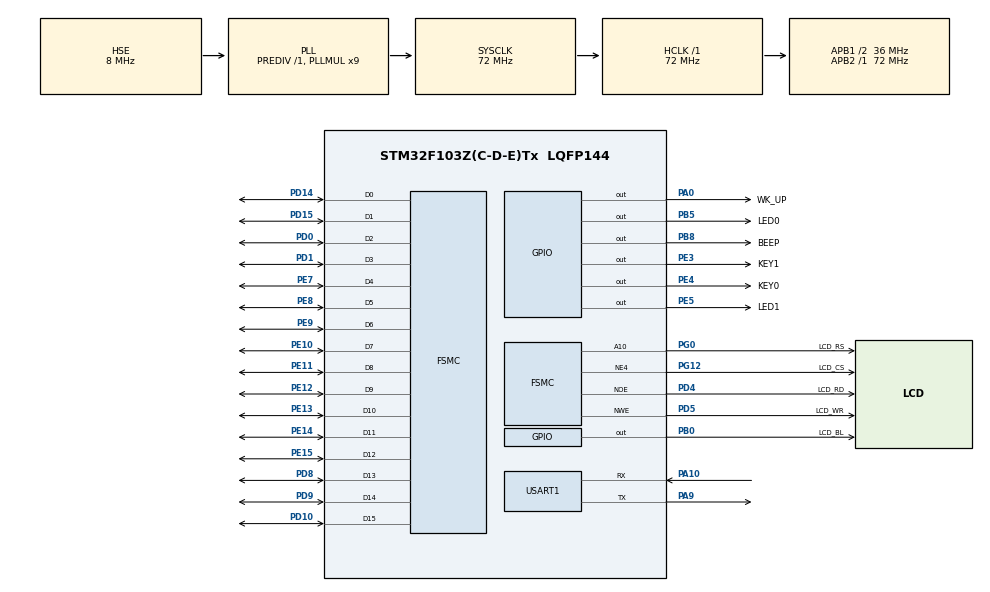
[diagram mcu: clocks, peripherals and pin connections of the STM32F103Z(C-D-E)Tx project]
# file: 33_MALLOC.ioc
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FSMC.AddressSetupTime1=0
FSMC.BusTurnAroundDuration1=15
FSMC.DataSetupTime1=15
FSMC.ExtendedAddressSetupTime1=0
FSMC.ExtendedDataSetupTime1=1
FSMC.ExtendedMode1=FSMC_EXTENDED_MODE_ENABLE
Mcu.Family=STM32F1
Mcu.Name=STM32F103Z(C-D-E)Tx
Mcu.Package=LQFP144
NVIC.PriorityGroup=NVIC_PRIORITYGROUP_2
NVIC.TIM4_IRQn=true\:2\:1\:true\:false\:true\:true\:true\:true
NVIC.USART1_IRQn=true\:2\:2\:true\:false\:true\:true\:true\:true
OSC_IN.Mode=HSE-External-Oscillator
OSC_IN.Signal=RCC_OSC_IN
OSC_OUT.Mode=HSE-External-Oscillator
OSC_OUT.Signal=RCC_OSC_OUT
PA0-WKUP.GPIO_Label=WK_UP
PA0-WKUP.GPIO_PuPd=GPIO_PULLDOWN
PA0-WKUP.GPIO_Speed=GPIO_SPEED_FREQ_HIGH
PA0-WKUP.PinState=GPIO_PIN_RESET
PA0-WKUP.Signal=GPIO_Output
PA10.Mode=Asynchronous
PA10.Signal=USART1_RX
PA13.Mode=Serial_Wire
PA13.Signal=SYS_JTMS-SWDIO
PA14.Mode=Serial_Wire
PA14.Signal=SYS_JTCK-SWCLK
PA9.Mode=Asynchronous
PA9.Signal=USART1_TX
PB0.GPIO_Label=LCD_BL
PB0.GPIO_PuPd=GPIO_PULLUP
PB0.GPIO_Speed=GPIO_SPEED_FREQ_HIGH
PB0.PinState=GPIO_PIN_SET
PB0.Signal=GPIO_Output
PB5.GPIO_Label=LED0
PB5.GPIO_PuPd=GPIO_PULLUP
PB5.GPIO_Speed=GPIO_SPEED_FREQ_HIGH
PB5.PinState=GPIO_PIN_SET
PB5.Signal=GPIO_Output
PB8.GPIO_Label=BEEP
PB8.GPIO_ModeDefaultOutputPP=GPIO_MODE_OUTPUT_PP
PB8.GPIO_PuPd=GPIO_PULLDOWN
PB8.GPIO_Speed=GPIO_SPEED_FREQ_HIGH
PB8.PinState=GPIO_PIN_RESET
PB8.Signal=GPIO_Output
PC14-OSC32_IN.Mode=LSE-External-Oscillator
PC14-OSC32_IN.Signal=RCC_OSC32_IN
PC15-OSC32_OUT.Mode=LSE-External-Oscillator
PC15-OSC32_OUT.Signal=RCC_OSC32_OUT
PD0.Signal=FSMC_D2_DA2
PD1.Signal=FSMC_D3_DA3
PD10.Signal=FSMC_D15_DA15
PD14.Signal=FSMC_D0_DA0
PD15.Signal=FSMC_D1_DA1
PD4.GPIO_Label=LCD_RD
PD4.Signal=FSMC_NOE
PD5.GPIO_Label=LCD_WR
PD5.Signal=FSMC_NWE
PD8.Signal=FSMC_D13_DA13
PD9.Signal=FSMC_D14_DA14
PE10.Signal=FSMC_D7_DA7
PE11.Signal=FSMC_D8_DA8
PE12.Signal=FSMC_D9_DA9
PE13.Signal=FSMC_D10_DA10
PE14.Signal=FSMC_D11_DA11
PE15.Signal=FSMC_D12_DA12
PE3.GPIO_Label=KEY1
PE3.GPIO_PuPd=GPIO_PULLUP
PE3.GPIO_Speed=GPIO_SPEED_FREQ_HIGH
PE3.PinState=GPIO_PIN_SET
PE3.Signal=GPIO_Output
PE4.GPIO_Label=KEY0
PE4.GPIO_PuPd=GPIO_PULLUP
PE4.GPIO_Speed=GPIO_SPEED_FREQ_HIGH
PE4.PinState=GPIO_PIN_SET
PE4.Signal=GPIO_Output
PE5.GPIO_Label=LED1
PE5.GPIO_PuPd=GPIO_PULLUP
PE5.GPIO_Speed=GPIO_SPEED_FREQ_HIGH
PE5.PinState=GPIO_PIN_SET
PE5.Signal=GPIO_Output
PE7.Signal=FSMC_D4_DA4
PE8.Signal=FSMC_D5_DA5
PE9.Signal=FSMC_D6_DA6
PG0.GPIO_Label=LCD_RS
PG0.Signal=FSMC_A10
PG12.GPIO_Label=LCD_CS
PG12.Mode=NorPsramChipSelect4_1
PG12.Signal=FSMC_NE4
ProjectManager.HeapSize=0x200
ProjectManager.StackSize=0x400
ProjectManager.TargetToolchain=STM32CubeIDE
RCC.AHBFreq_Value=72000000
RCC.APB1CLKDivider=RCC_HCLK_DIV2
RCC.APB1Freq_Value=36000000
RCC.APB1TimFreq_Value=72000000
RCC.APB2Freq_Value=72000000
RCC.APB2TimFreq_Value=72000000
RCC.HCLKFreq_Value=72000000
RCC.PLLMUL=RCC_PLL_MUL9
RCC.PLLSourceVirtual=RCC_PLLSOURCE_HSE
RCC.SYSCLKFreq_VALUE=72000000
RCC.SYSCLKSource=RCC_SYSCLKSOURCE_PLLCLK
RCC.USBFreq_Value=72000000
SH.FSMC_A10.0=FSMC_A10,A10_1
SH.FSMC_D0_DA0.0=FSMC_D0,16b-d1
SH.FSMC_D10_DA10.0=FSMC_D10,16b-d1
SH.FSMC_D11_DA11.0=FSMC_D11,16b-d1
SH.FSMC_D12_DA12.0=FSMC_D12,16b-d1
SH.FSMC_D13_DA13.0=FSMC_D13,16b-d1
SH.FSMC_D14_DA14.0=FSMC_D14,16b-d1
SH.FSMC_D15_DA15.0=FSMC_D15,16b-d1
SH.FSMC_D1_DA1.0=FSMC_D1,16b-d1
SH.FSMC_D2_DA2.0=FSMC_D2,16b-d1
SH.FSMC_D3_DA3.0=FSMC_D3,16b-d1
SH.FSMC_D4_DA4.0=FSMC_D4,16b-d1
SH.FSMC_D5_DA5.0=FSMC_D5,16b-d1
SH.FSMC_D6_DA6.0=FSMC_D6,16b-d1
SH.FSMC_D7_DA7.0=FSMC_D7,16b-d1
SH.FSMC_D8_DA8.0=FSMC_D8,16b-d1
SH.FSMC_D9_DA9.0=FSMC_D9,16b-d1
SH.FSMC_NOE.0=FSMC_NOE,Lcd1
SH.FSMC_NWE.0=FSMC_NWE,Lcd1
TIM4.AutoReloadPreload=TIM_AUTORELOAD_PRELOAD_ENABLE
TIM4.Period=1000 - 1
TIM4.Prescaler=7200 - 1
USART1.VirtualMode=VM_ASYNC
VP_TIM4_VS_ClockSourceINT.Mode=Internal
board=custom

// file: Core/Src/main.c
/* USER CODE BEGIN Header */

/* USER CODE END Header */
#include "main.h"
#include "tim.h"
#include "usart.h"
#include "gpio.h"
#include "fsmc.h"

/* USER CODE BEGIN Includes */
#include "../../BSP/LED/led.h"
#include "../../BSP/BEEP/beep.h"
#include "../../BSP/KEY/key.h"
#include "../../BSP/LCD/lcd.h"
#include "../../SYSTEM/delay/delay.h"
#include "../../SYSTEM/sys/sys.h"
#include "../../Middlewares/USMART/usmart.h"
#include "../../Middlewares/MALLOC/malloc.h"
/* USER CODE END Includes */

void SystemClock_Config(void);

int main(void)
{
  /* USER CODE BEGIN 1 */
    uint8_t paddr[20];  /* 存放P Addr:+p地址的ASCII值 */
    uint16_t memused = 0;
    uint8_t key;
    uint8_t i = 0;
    uint8_t *p = 0;
    uint8_t *tp = 0;
  /* USER CODE END 1 */

  /* MCU Configuration--------------------------------------------------------*/

  /* Reset of all peripherals, Initializes the Flash interface and the Systick. */
  HAL_Init();

  /* Configure the system clock */
  SystemClock_Config();

  /* USER CODE BEGIN SysInit */
  delay_init(72);						   	/* 初始化延时函数 */
  /* USER CODE END SysInit */

  /* Initialize all configured peripherals */
  MX_GPIO_Init();
  MX_FSMC_Init();
  MX_USART1_UART_Init();
  MX_TIM4_Init();
  /* USER CODE BEGIN 2 */
  lcd_init();                             	/* 初始化LCD */
  my_mem_init(SRAMIN);                		/* 初始化内部SRAM内存池 */

  lcd_show_string(30,  50, 200, 16, 16, "STM32", RED);
  lcd_show_string(30,  70, 200, 16, 16, "MALLOC TEST", RED);
  lcd_show_string(30,  90, 200, 16, 16, "ATOM@ALIENTEK", RED);
  lcd_show_string(30, 110, 200, 16, 16, "KEY0:Malloc KEY1:Free", RED);
  lcd_show_string(30, 130, 200, 16, 16, "KEY_UP:Write ", RED);
  lcd_show_string(30, 160, 200, 16, 16, "SRAMIN ", BLUE);
  lcd_show_string(30, 176, 200, 16, 16, "SRAMIN   USED:", BLUE);
  /* USER CODE END 2 */

  /* Infinite loop */
  /* USER CODE BEGIN WHILE */
  while (1)
  {
	  key = key_scan(0);      /* 不支持连按 */

	  switch (key)
	  {
		  case KEY0_PRES:     /* KEY0按下 */
			  p = mymalloc(SRAMIN, 2048);  /* 申请2K字节,并写入内容,显示在lcd屏幕上面 */

			  if (p != NULL)
			  {
				  sprintf((char *)p, "Memory Malloc Test%03d", i);        /* 向p写入一些内容 */
				  lcd_show_string(30, 260, 209, 16, 16, (char *)p, BLUE); /* 显示P的内容 */
			  }

			  break;

		  case KEY1_PRES:         /* KEY1按下 */
			  myfree(SRAMIN, p);  /* 释放内存 */
			  p = 0;              /* 指向空地址 */
			  break;

		  case WKUP_PRES:         /* KEY UP按下 */
		  if (p != NULL )
		  {
			sprintf((char *)p, "Memory Malloc Test%03d", i);          	/* 向p写入一些内容 */
			lcd_show_string(30, 260, 209, 16, 16, (char *)p, BLUE);
		  }
		  break;
	  }

	  if (tp != p)
	  {
		  tp = p;
		  sprintf((char *)paddr, "P Addr:0X%08X", (uint32_t)tp);
		  lcd_show_string(30, 240, 209, 16, 16, (char *)paddr, BLUE); 	/* 显示p的地址 */

		  if (p)
		  {
			  lcd_show_string(30, 260, 280, 16, 16, (char *)p, BLUE);	/* 显示P的内容 */
		  }
		  else
		  {
			  lcd_fill(30, 260, 209, 296, WHITE); /* p=0,清除显示 */
		  }
	  }

	  delay_ms(10);
	  i++;

	  if ((i % 20) == 0)  /* DS0闪烁. */
	  {
		  memused = my_mem_perused(SRAMIN);
		  sprintf((char *)paddr, "%d.%01d%%", memused / 10, memused % 10);
		  lcd_show_string(30 + 112, 176, 200, 16, 16, (char *)paddr, BLUE);   /* 显示内部内存使用率 */

		  LED0_TOGGLE();  /* LED0闪烁 */
	  }

    /* USER CODE END WHILE */

  }
}

void SystemClock_Config(void)
{
  RCC_OscInitTypeDef RCC_OscInitStruct = {0};
  RCC_ClkInitTypeDef RCC_ClkInitStruct = {0};

  /** Initializes the RCC Oscillators according to the specified parameters
  * in the RCC_OscInitTypeDef structure.
  */
  RCC_OscInitStruct.OscillatorType = RCC_OSCILLATORTYPE_HSE;
  RCC_OscInitStruct.HSEState = RCC_HSE_ON;
  RCC_OscInitStruct.HSEPredivValue = RCC_HSE_PREDIV_DIV1;
  RCC_OscInitStruct.HSIState = RCC_HSI_ON;
  RCC_OscInitStruct.PLL.PLLState = RCC_PLL_ON;
  RCC_OscInitStruct.PLL.PLLSource = RCC_PLLSOURCE_HSE;
  RCC_OscInitStruct.PLL.PLLMUL = RCC_PLL_MUL9;
  if (HAL_RCC_OscConfig(&RCC_OscInitStruct) != HAL_OK)
  {
    Error_Handler();
  }

  /** Initializes the CPU, AHB and APB buses clocks
  */
  RCC_ClkInitStruct.ClockType = RCC_CLOCKTYPE_HCLK|RCC_CLOCKTYPE_SYSCLK
                              |RCC_CLOCKTYPE_PCLK1|RCC_CLOCKTYPE_PCLK2;
  RCC_ClkInitStruct.SYSCLKSource = RCC_SYSCLKSOURCE_PLLCLK;
  RCC_ClkInitStruct.AHBCLKDivider = RCC_SYSCLK_DIV1;
  RCC_ClkInitStruct.APB1CLKDivider = RCC_HCLK_DIV2;
  RCC_ClkInitStruct.APB2CLKDivider = RCC_HCLK_DIV1;

  if (HAL_RCC_ClockConfig(&RCC_ClkInitStruct, FLASH_LATENCY_2) != HAL_OK)
  {
    Error_Handler();
  }
}

void Error_Handler(void)
{
  __disable_irq();
  while (1)
  {
  }
}
